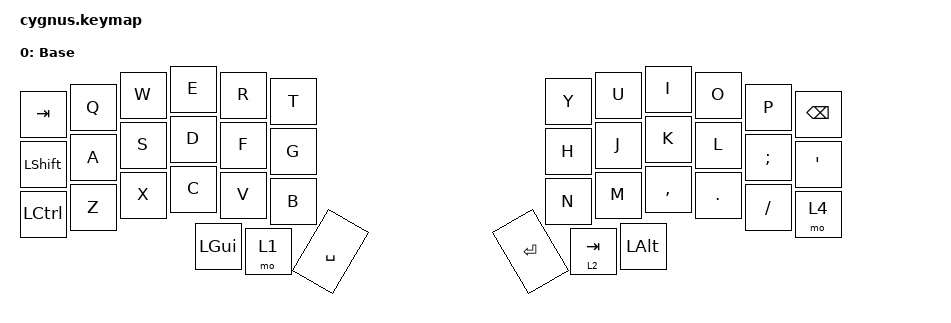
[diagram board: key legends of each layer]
#include <behaviors.dtsi>
#include <dt-bindings/zmk/bt.h>
#include <dt-bindings/zmk/keys.h>
#include <dt-bindings/zmk/pointing.h>

/ {
    keymap {
        compatible = "zmk,keymap";

        default_layer {
            label = "Base";
            bindings = <
&kp TAB    &kp Q  &kp W  &kp E     &kp R  &kp T        &kp Y    &kp U      &kp I          &kp O    &kp P     &kp BACKSPACE
&kp LSHFT  &kp A  &kp S  &kp D     &kp F  &kp G        &kp H    &kp J      &kp K          &kp L    &kp SEMI  &kp SQT
&kp LCTRL  &kp Z  &kp X  &kp C     &kp V  &kp B        &kp N    &kp M      &kp COMMA      &kp DOT  &kp FSLH  &mo 4
                         &kp LGUI  &mo 1  &kp SPACE    &kp RET  &lt 2 TAB  &kp LEFT_ALT
            >;
        };
    };
};
